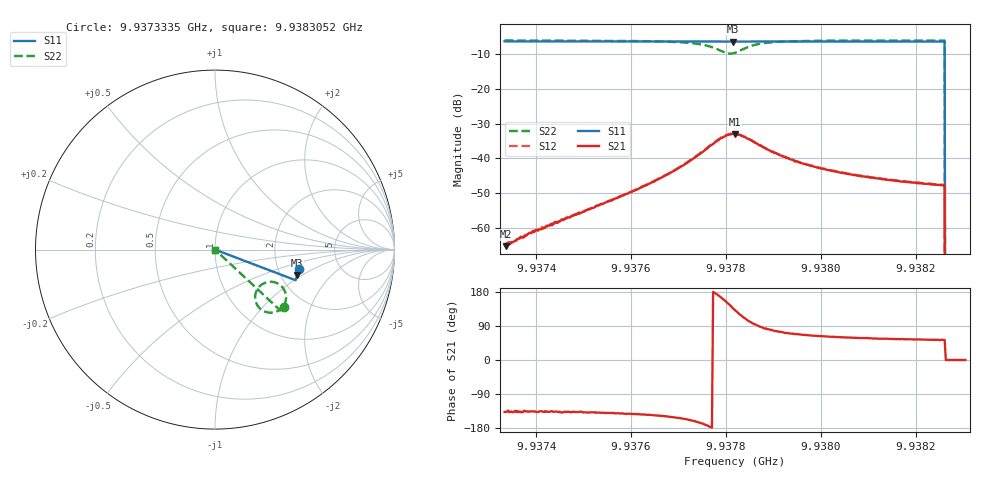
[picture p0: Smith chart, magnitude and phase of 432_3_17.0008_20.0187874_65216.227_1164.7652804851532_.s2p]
#  HZ  S  RI  R  50.00
! Rohde & Schwarz Vector Network Analyzer
! Rohde-Schwarz,ZNB20-2Port,1311601062101988,3.16
! Created: UTC 3/20/2024, 11:11:25 PM
! freq[Hz]  re:S11  im:S11  re:S21  im:S21  re:S12  im:S12  re:S22  im:S22
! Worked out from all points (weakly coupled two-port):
!   401 points, 9.9373335 GHz to 9.9383052 GHz, reference 50 ohm
!   highest |S21| = -33.02 dB at 9.9378194 GHz (marker M1); lowest = -65.4 dB at 9.937336 GHz (marker M2)
!   lowest |S11| = -6.4 dB at 9.9378145 GHz (marker M3), VSWR 2.84, Z = 123 - j44.8 ohm
!   |S11| at or under -10 dB: 9.9382615 GHz to end of sweep
!   |S22| runs from - to -6.1 dB; largest |S21 - S12| = 0.00097
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9.93733354e9  0.4706 -0.1106  -0.000411 -0.000383  -0.000417 -0.00036  0.382 -0.3189
9.93733597e9  0.4705 -0.1109  -0.000396 -0.000367  -0.00043 -0.000397  0.382 -0.3192
9.93735297e9  0.4702 -0.1121  -0.00046 -0.000434  -0.000444 -0.000438  0.3804 -0.3205
9.9373967e9  0.4693 -0.115  -0.000623 -0.000613  -0.000648 -0.000601  0.377 -0.3237
9.93749629e9  0.4672 -0.1218  -0.0012 -0.00113  -0.00126 -0.00112  0.3669 -0.3318
9.9376056e9  0.4646 -0.1289  -0.00269 -0.00206  -0.00273 -0.00203  0.3489 -0.3426
9.93765904e9  0.4632 -0.1326  -0.0042 -0.00273  -0.00432 -0.00274  0.3332 -0.3482
9.93771248e9  0.4617 -0.1362  -0.00735 -0.00337  -0.00757 -0.00329  0.305 -0.3513
9.93775863e9  0.4599 -0.1393  -0.0133 -0.00195  -0.0137 -0.0017  0.2572 -0.3335
9.93779264e9  0.4582 -0.1405  -0.0187 0.00598  -0.0192 0.00665  0.2234 -0.2634
9.93780478e9  0.4577 -0.1408  -0.0185 0.0111  -0.0186 0.0119  0.234 -0.2238
9.9378145e9  0.4576 -0.1407  -0.0164 0.0151  -0.0163 0.0158  0.2569 -0.1972
9.93781936e9  0.4578 -0.1411  -0.0148 0.0167  -0.0145 0.0172  0.272 -0.1879
9.93783636e9  0.4579 -0.1418  -0.0081 0.0189  -0.0075 0.0194  0.3264 -0.1808
9.93787037e9  0.4583 -0.1441  0.000276 0.0154  0.000657 0.0157  0.3842 -0.2222
9.93791895e9  0.4576 -0.1476  0.0031 0.0102  0.00331 0.0104  0.396 -0.2692
9.9379821e9  0.456 -0.1522  0.00333 0.00691  0.00349 0.00693  0.3902 -0.2985
9.93807441e9  0.4536 -0.1583  0.00297 0.00484  0.00311 0.00483  0.3799 -0.3186
9.93814485e9  0.4518 -0.1629  0.00274 0.00402  0.00287 0.00402  0.3732 -0.3277
9.93825659e9  0.4488 -0.1701  0.00246 0.00329  0.00255 0.00325  0.3643 -0.3385
9.93826873e9  0 0  0 0  0 0  0 0
9.93830517e9  0 0  0 0  0 0  0 0
